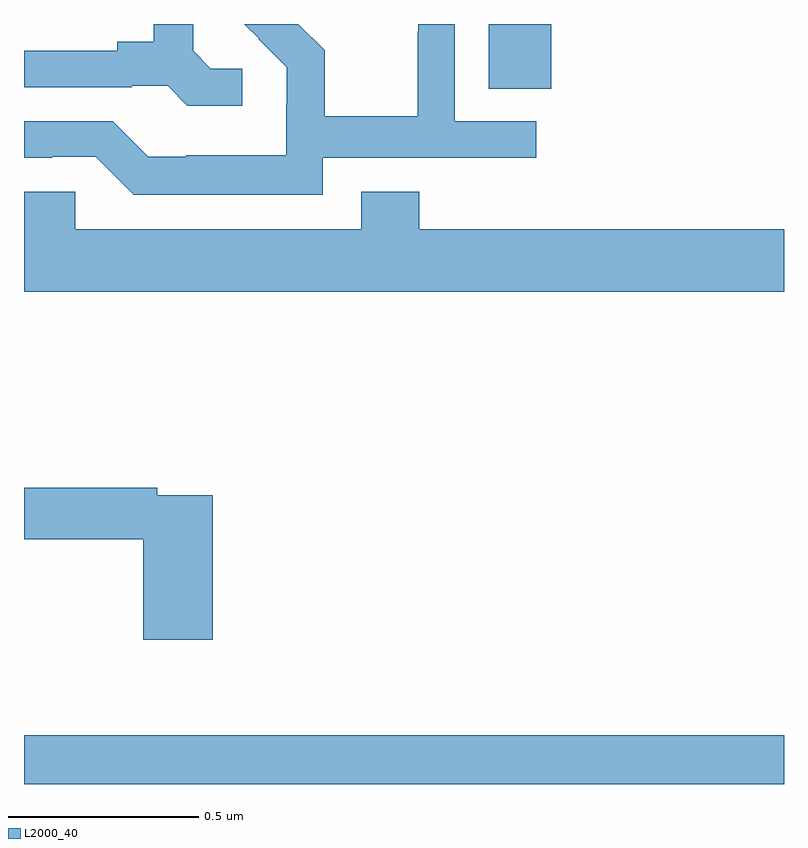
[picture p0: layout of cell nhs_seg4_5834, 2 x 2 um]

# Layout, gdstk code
import gdstk
lib = gdstk.Library(unit=1e-6, precision=1e-09)
def R(c, l, rs):  # rectangles x0, y0, x1, y1
    for r in rs: c.add(gdstk.rectangle(r[:2], r[2:], *l))
def P(c, l, *ps):  # polygons
    for p in ps: c.add(gdstk.Polygon(p, *l))
L2000_40 = (2000, 40)

nhs_seg4_5834 = lib.new_cell('nhs_seg4_5834')
R(nhs_seg4_5834, L2000_40, [(183,752.9,185,753.028), (184.223,754.729,184.387,754.9)])
P(nhs_seg4_5834, L2000_40, [(183.574,754.782),(183.492,754.782),(183.445,754.829),(183.445,754.9),(183.341,754.9),(183.341,754.853),(183.245,754.853),(183.245,754.83),(183,754.83),(183,754.734),(183.284,754.734),(183.284,754.737),(183.378,754.737),(183.43,754.685),(183.574,754.685)],
  [(183.786,754.548),(184.348,754.548),(184.348,754.644),(184.134,754.644),(184.134,754.9),(184.038,754.9),(184.038,754.88),(184.036,754.88),(184.036,754.657),(183.791,754.657),(183.791,754.831),(183.722,754.9),(183.58,754.9),(183.619,754.861),(183.618,754.86),(183.692,754.786),(183.692,754.689),(183.69,754.689),(183.69,754.555),(183.427,754.555),(183.427,754.551),(183.327,754.551),(183.234,754.644),(183,754.644),(183,754.548),(183.074,754.548),(183.074,754.551),(183.189,754.551),(183.289,754.451),(183.786,754.451)],
  [(185,754.36),(184.04,754.36),(184.04,754.459),(183.887,754.459),(183.887,754.36),(183.135,754.36),(183.135,754.458),(183,754.458),(183,754.196),(185,754.196)],
  [(183.497,753.66),(183.35,753.66),(183.35,753.68),(183,753.68),(183,753.544),(183.314,753.544),(183.314,753.279),(183.497,753.279)])

lib.write_gds('nhs_seg4_5834.gds')
